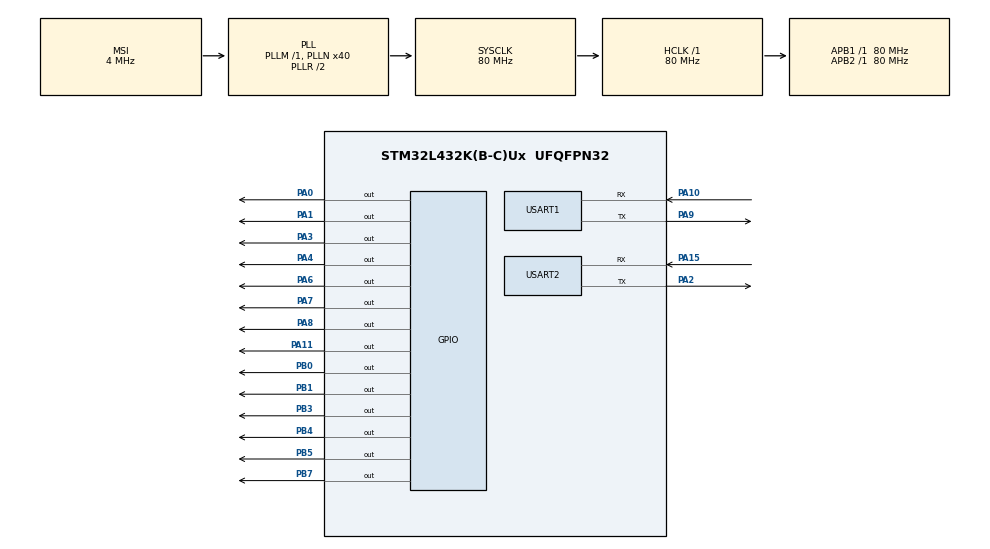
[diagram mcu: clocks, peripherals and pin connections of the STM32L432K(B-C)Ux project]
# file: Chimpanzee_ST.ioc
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CRC.CRCLength=CRC_POLYLENGTH_8B
CRC.DefaultInitValueUse=DEFAULT_INIT_VALUE_DISABLE
CRC.DefaultPolynomialUse=DEFAULT_POLYNOMIAL_DISABLE
CRC.GeneratingPolynomial=X2+X1+X0
CRC.InitValue=0
CRC.InputDataInversionMode=CRC_INPUTDATA_INVERSION_NONE
Dma.Request0=USART2_RX
Dma.Request1=USART2_TX
Dma.Request2=USART1_RX
Dma.Request3=USART1_TX
Dma.USART1_RX.2.Direction=DMA_PERIPH_TO_MEMORY
Dma.USART1_RX.2.Instance=DMA1_Channel5
Dma.USART1_RX.2.MemDataAlignment=DMA_MDATAALIGN_BYTE
Dma.USART1_RX.2.MemInc=DMA_MINC_ENABLE
Dma.USART1_RX.2.Mode=DMA_CIRCULAR
Dma.USART1_RX.2.PeriphDataAlignment=DMA_PDATAALIGN_BYTE
Dma.USART1_RX.2.PeriphInc=DMA_PINC_DISABLE
Dma.USART1_RX.2.Priority=DMA_PRIORITY_LOW
Dma.USART1_TX.3.Direction=DMA_MEMORY_TO_PERIPH
Dma.USART1_TX.3.Instance=DMA1_Channel4
Dma.USART1_TX.3.MemDataAlignment=DMA_MDATAALIGN_BYTE
Dma.USART1_TX.3.MemInc=DMA_MINC_ENABLE
Dma.USART1_TX.3.Mode=DMA_NORMAL
Dma.USART1_TX.3.PeriphDataAlignment=DMA_PDATAALIGN_BYTE
Dma.USART1_TX.3.PeriphInc=DMA_PINC_DISABLE
Dma.USART1_TX.3.Priority=DMA_PRIORITY_LOW
Dma.USART2_RX.0.Direction=DMA_PERIPH_TO_MEMORY
Dma.USART2_RX.0.Instance=DMA1_Channel6
Dma.USART2_RX.0.MemDataAlignment=DMA_MDATAALIGN_BYTE
Dma.USART2_RX.0.MemInc=DMA_MINC_ENABLE
Dma.USART2_RX.0.Mode=DMA_CIRCULAR
Dma.USART2_RX.0.PeriphDataAlignment=DMA_PDATAALIGN_BYTE
Dma.USART2_RX.0.PeriphInc=DMA_PINC_DISABLE
Dma.USART2_RX.0.Priority=DMA_PRIORITY_LOW
Dma.USART2_TX.1.Direction=DMA_MEMORY_TO_PERIPH
Dma.USART2_TX.1.Instance=DMA1_Channel7
Dma.USART2_TX.1.MemDataAlignment=DMA_MDATAALIGN_BYTE
Dma.USART2_TX.1.MemInc=DMA_MINC_ENABLE
Dma.USART2_TX.1.Mode=DMA_NORMAL
Dma.USART2_TX.1.PeriphDataAlignment=DMA_PDATAALIGN_BYTE
Dma.USART2_TX.1.PeriphInc=DMA_PINC_DISABLE
Dma.USART2_TX.1.Priority=DMA_PRIORITY_LOW
Mcu.Family=STM32L4
Mcu.Name=STM32L432K(B-C)Ux
Mcu.Package=UFQFPN32
NVIC.DMA1_Channel4_IRQn=true\:1\:0\:true\:true\:true\:3\:false\:true\:true
NVIC.DMA1_Channel5_IRQn=true\:3\:0\:true\:true\:true\:9\:false\:true\:true
NVIC.DMA1_Channel6_IRQn=true\:3\:0\:true\:true\:true\:10\:false\:true\:true
NVIC.DMA1_Channel7_IRQn=true\:1\:0\:true\:true\:true\:4\:false\:true\:true
NVIC.PriorityGroup=NVIC_PRIORITYGROUP_4
NVIC.TIM1_BRK_TIM15_IRQn=true\:2\:0\:true\:true\:true\:5\:true\:true\:true
NVIC.TIM1_CC_IRQn=true\:2\:0\:true\:true\:true\:8\:true\:true\:true
NVIC.TIM1_UP_TIM16_IRQn=true\:2\:0\:true\:true\:true\:6\:true\:true\:true
NVIC.TIM2_IRQn=true\:2\:0\:true\:true\:true\:7\:true\:true\:true
NVIC.TIM6_DAC_IRQn=true\:3\:0\:true\:true\:true\:11\:true\:true\:true
NVIC.USART1_IRQn=true\:1\:0\:true\:true\:true\:1\:true\:true\:true
NVIC.USART2_IRQn=true\:1\:0\:true\:true\:true\:2\:true\:true\:true
PA0.Signal=GPIO_Output
PA1.Signal=GPIO_Output
PA10.Mode=Asynchronous
PA10.Signal=USART1_RX
PA11.Signal=GPIO_Output
PA15\ (JTDI).Mode=Asynchronous
PA15\ (JTDI).Signal=USART2_RX
PA2.Mode=Asynchronous
PA2.Signal=USART2_TX
PA3.Signal=GPIO_Output
PA4.Signal=GPIO_Output
PA6.Signal=GPIO_Output
PA7.Signal=GPIO_Output
PA8.Signal=GPIO_Output
PA9.Mode=Asynchronous
PA9.Signal=USART1_TX
PB0.Signal=GPIO_Output
PB1.Signal=GPIO_Output
PB3\ (JTDO-TRACESWO).Signal=GPIO_Output
PB4\ (NJTRST).Signal=GPIO_Output
PB5.Signal=GPIO_Output
PB7.Signal=GPIO_Output
ProjectManager.HeapSize=0x200
ProjectManager.StackSize=0x400
ProjectManager.TargetToolchain=STM32CubeIDE
RCC.AHBFreq_Value=80000000
RCC.APB1Freq_Value=80000000
RCC.APB1TimFreq_Value=80000000
RCC.APB2Freq_Value=80000000
RCC.APB2TimFreq_Value=80000000
RCC.CortexFreq_Value=80000000
RCC.HCLKFreq_Value=80000000
RCC.HSE_VALUE=8000000
RCC.HSI48_VALUE=48000000
RCC.HSI_VALUE=16000000
RCC.LSE_VALUE=32768
RCC.MSI_VALUE=4000000
RCC.PLLN=40
RCC.SYSCLKFreq_VALUE=80000000
RCC.SYSCLKSource=RCC_SYSCLKSOURCE_PLLCLK
RCC.VCOOutputFreq_Value=160000000
TIM1.AutoReloadPreload=TIM_AUTORELOAD_PRELOAD_DISABLE
TIM1.Channel-PWM\ Generation1\ No\ Output=TIM_CHANNEL_1
TIM1.Channel-PWM\ Generation2\ No\ Output=TIM_CHANNEL_2
TIM1.Channel-PWM\ Generation3\ No\ Output=TIM_CHANNEL_3
TIM1.Channel-PWM\ Generation4\ No\ Output=TIM_CHANNEL_4
TIM1.OC1Preload_PWM=DISABLE
TIM1.OC2Preload_PWM=DISABLE
TIM1.OC3Preload_PWM=DISABLE
TIM1.OC4Preload_PWM=DISABLE
TIM1.Period=19999
TIM1.Prescaler=79
TIM1.Pulse-PWM\ Generation1\ No\ Output=1500
TIM1.Pulse-PWM\ Generation2\ No\ Output=1500
TIM1.Pulse-PWM\ Generation3\ No\ Output=1500
TIM1.Pulse-PWM\ Generation4\ No\ Output=1500
TIM15.Channel-PWM\ Generation1\ No\ Output=TIM_CHANNEL_1
TIM15.OC1Preload_PWM=DISABLE
TIM15.Period=255
TIM15.Prescaler=300
TIM15.Pulse-PWM\ Generation1\ No\ Output=127
TIM16.Channel=TIM_CHANNEL_1
TIM16.OC1Preload_PWM=DISABLE
TIM16.Period=255
TIM16.Prescaler=1040
TIM16.Pulse=127
TIM2.Channel-PWM\ Generation1\ No\ Output=TIM_CHANNEL_1
TIM2.Channel-PWM\ Generation2\ No\ Output=TIM_CHANNEL_2
TIM2.Channel-PWM\ Generation3\ No\ Output=TIM_CHANNEL_3
TIM2.Channel-PWM\ Generation4\ No\ Output=TIM_CHANNEL_4
TIM2.OC1Preload_PWM=DISABLE
TIM2.OC2Preload_PWM=DISABLE
TIM2.OC3Preload_PWM=DISABLE
TIM2.OC4Preload_PWM=DISABLE
TIM2.Period=19999
TIM2.Prescaler=79
TIM2.Pulse-PWM\ Generation1\ No\ Output=1500
TIM2.Pulse-PWM\ Generation2\ No\ Output=1500
TIM2.Pulse-PWM\ Generation3\ No\ Output=1500
TIM2.Pulse-PWM\ Generation4\ No\ Output=1500
TIM6.Period=99
TIM6.Prescaler=7999
USART1.VirtualMode-Asynchronous=VM_ASYNC
USART2.VirtualMode-Asynchronous=VM_ASYNC
VP_CRC_VS_CRC.Mode=CRC_Activate
VP_TIM15_VS_no_output1.Mode=PWM Generation1 No Output
VP_TIM16_VS_ClockSourceINT.Mode=Enable_Timer
VP_TIM16_VS_no_output1.Mode=PWM Generation1 No Output
VP_TIM1_VS_no_output1.Mode=PWM Generation1 No Output
VP_TIM1_VS_no_output2.Mode=PWM Generation2 No Output
VP_TIM1_VS_no_output3.Mode=PWM Generation3 No Output
VP_TIM1_VS_no_output4.Mode=PWM Generation4 No Output
VP_TIM2_VS_no_output1.Mode=PWM Generation1 No Output
VP_TIM2_VS_no_output2.Mode=PWM Generation2 No Output
VP_TIM2_VS_no_output3.Mode=PWM Generation3 No Output
VP_TIM2_VS_no_output4.Mode=PWM Generation4 No Output
VP_TIM6_VS_ClockSourceINT.Mode=Enable_Timer
board=custom

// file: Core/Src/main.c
/* USER CODE BEGIN Header */
/**
  ******************************************************************************
  * @file           : main.c
  * @brief          : Main program body
  ******************************************************************************
  * @attention
  *
  * Copyright (c) 2024 STMicroelectronics.
  * All rights reserved.
  *
  * This software is licensed under terms that can be found in the LICENSE file
  * in the root directory of this software component.
  * If no LICENSE file comes with this software, it is provided AS-IS.
  *
  ******************************************************************************
  */
/* USER CODE END Header */
#include "main.h"
#include "crc.h"
#include "dma.h"
#include "tim.h"
#include "usart.h"
#include "gpio.h"

/* USER CODE BEGIN Includes */
#include <string.h>
/* USER CODE END Includes */

/* USER CODE BEGIN PD */
// Arm and Wrist Pin Definitions
#define DEBUG_EN 1

#define PIN_DIR_WRIST GPIO_PIN_4 // GPIOB
#define  PIN_EN_WRIST GPIO_PIN_5 // GPIOB
#define  PIN_DIR_HAND GPIO_PIN_7 // GPIOB

// Packets' Codes
#define CHIMP_INIT_SOP 0xFF
#define CHIMP_COMM_SOP 0xAA
#define CHIMP_HB_SOP   0xBB
#define CHIMP_EOP 	   0xEE
#define CHIMP_ESCAPE   0x7E

// Packet sizes, to be kept updated
#define   CHIMP_RX_PCKT_SIZE 27
#define   CHIMP_TX_PCKT_SIZE 50
#define CHIMP_RESP_PCKT_SIZE 8
#define   CHIMP_HB_PCKT_SIZE 7
// Init Packet Indexes
#define        CHIMP_INIT_SOP_IDX 0
#define    CHIMP_INIT_ADDRESS_IDX 1
#define    CHIMP_INIT_VERSION_IDX 2
#define CHIMP_INIT_SUBVERSION_IDX 3
#define  CHIMP_INIT_HB_PERIOD_IDX 4
#define       CHIMP_INIT_CRC8_IDX 5
#define        CHIMP_INIT_EOP_IDX 6

// Response Packet Indexes
#define        CHIMP_RESP_SOP_IDX 0
#define    CHIMP_RESP_ADDRESS_IDX 1
#define    CHIMP_RESP_VERSION_IDX 2
#define CHIMP_RESP_SUBVERSION_IDX 3
#define   CHIMP_RESP_RESPONSE_IDX 4
#define       CHIMP_RESP_CRC8_IDX 5
#define        CHIMP_RESP_EOP_IDX 6

// Heart Beat Packet Indexes
#define     CHIMP_HB_SOP_IDX 0
#define CHIMP_HB_ADDRESS_IDX 1
#define  CHIMP_HB_STATUS_IDX 2
#define CHIMP_HB_PAYLOAD_IDX 3
#define    CHIMP_HB_CRC8_IDX 4
#define     CHIMP_HB_EOP_IDX 5

// Response Packet - Response field codes
#define                 CHIMP_RESP_OK 0x00
#define CHIMP_RESP_OLD_VERSION_MASTER 0x01
#define  CHIMP_RESP_OLD_VERSION_SLAVE 0x02
#define        CHIMP_RESP_CRC_FAILURE 0x03

// HB Packet - Status field codes
#define CHIMP_HB_READY  0b00000000
#define CHIMP_HB_NREADY 0b00000001
/* USER CODE END PD */

/* USER CODE BEGIN PV */
typedef enum {
	CHIMP_OK,
	CHIMP_BUSY
} CHIMP_StatusTypeDef;

typedef struct {
	CHIMP_StatusTypeDef  				         Status;
	uint16_t                              Motor_Arg[11];
	uint8_t									       Tick;
	uint8_t         		   				  HB_Period;
	uint8_t           		   			   	    Version;
	uint8_t         						 SubVersion;
	uint8_t             				      FillIndex;
	uint8_t                                       Esc_f;
	uint8_t 			                    UART_Buffer;
	uint8_t                TxPacket[CHIMP_TX_PCKT_SIZE];
	uint8_t                RxPacket[CHIMP_RX_PCKT_SIZE];
	uint8_t             Resp_Pckt[CHIMP_RESP_PCKT_SIZE];
	uint8_t                 HB_Pckt[CHIMP_HB_PCKT_SIZE];
} CHIMP_TypeDef;

static CHIMP_TypeDef chimp;
/* USER CODE END PV */

void SystemClock_Config(void);
static void MX_NVIC_Init(void);

int main(void)
{

  /* MCU Configuration--------------------------------------------------------*/

  /* Reset of all peripherals, Initializes the Flash interface and the Systick. */
  HAL_Init();

  /* Configure the system clock */
  SystemClock_Config();

  /* Initialize all configured peripherals */
  MX_GPIO_Init();
  MX_DMA_Init();
  MX_CRC_Init();
  MX_TIM6_Init();
  MX_TIM16_Init();
  MX_TIM1_Init();
  MX_TIM2_Init();
  MX_TIM15_Init();
  MX_USART2_UART_Init();
  MX_USART1_UART_Init();

  /* Initialize interrupts */
  MX_NVIC_Init();
  /* USER CODE BEGIN 2 */
  // CHIMP initialization
  chimp. HB_Period = 1;
  chimp.   Version = 1;
  chimp.SubVersion = 0;

  // Fill Response Packet
  chimp.Resp_Pckt       [CHIMP_RESP_SOP_IDX] =   CHIMP_INIT_SOP;
  chimp.Resp_Pckt   [CHIMP_RESP_ADDRESS_IDX] =             0x00;
  chimp.Resp_Pckt   [CHIMP_RESP_VERSION_IDX] =    chimp.Version;
  chimp.Resp_Pckt[CHIMP_RESP_SUBVERSION_IDX] = chimp.SubVersion;

  // Fill HB Packet
  chimp.HB_Pckt    [CHIMP_HB_SOP_IDX] =   CHIMP_HB_SOP;
  chimp.HB_Pckt[CHIMP_HB_ADDRESS_IDX] =           0x00;
  chimp.HB_Pckt [CHIMP_HB_STATUS_IDX] = CHIMP_HB_READY;

  #if (DEBUG_EN == 1)
  	  HAL_UART_Receive_DMA(&huart2, &chimp.UART_Buffer, 1);
  #else
  	  HAL_UART_Receive_DMA(&huart1, &chimp.UART_Buffer, 1);
  #endif

  HAL_TIM_Base_Start_IT(&htim6);

  HAL_TIM_Base_Start_IT(&htim1);
  HAL_TIM_Base_Start_IT(&htim2);
  HAL_TIM_Base_Start_IT(&htim15);
  HAL_TIM_Base_Start_IT(&htim16);

  HAL_TIM_OC_Start_IT(&htim1,TIM_CHANNEL_1);
  HAL_TIM_OC_Start_IT(&htim1,TIM_CHANNEL_2);
  HAL_TIM_OC_Start_IT(&htim1,TIM_CHANNEL_3);
  HAL_TIM_OC_Start_IT(&htim1,TIM_CHANNEL_4);

  HAL_TIM_OC_Start_IT(&htim2,TIM_CHANNEL_1);
  HAL_TIM_OC_Start_IT(&htim2,TIM_CHANNEL_2);
  HAL_TIM_OC_Start_IT(&htim2,TIM_CHANNEL_3);
  HAL_TIM_OC_Start_IT(&htim2,TIM_CHANNEL_4);

  HAL_TIM_OC_Start_IT(&htim15,TIM_CHANNEL_1);

  HAL_TIM_OC_Start_IT(&htim16,TIM_CHANNEL_1);

  HAL_GPIO_WritePin(GPIOB, GPIO_PIN_3, 1);

  HAL_SuspendTick();
  HAL_PWR_EnableSleepOnExit();
  HAL_PWR_EnterSLEEPMode(PWR_MAINREGULATOR_ON, PWR_SLEEPENTRY_WFI);
  /* USER CODE END 2 */

  /* Infinite loop */
  while (1)
  {

    /* USER CODE BEGIN 3 */
  	//HAL_SuspendTick();
	//HAL_PWR_EnterSLEEPMode(PWR_MAINREGULATOR_ON, PWR_SLEEPENTRY_WFI);
	//HAL_ResumeTick();
  }
  /* USER CODE END 3 */
}

void SystemClock_Config(void)
{
  RCC_OscInitTypeDef RCC_OscInitStruct = {0};
  RCC_ClkInitTypeDef RCC_ClkInitStruct = {0};

  /** Configure the main internal regulator output voltage
  */
  if (HAL_PWREx_ControlVoltageScaling(PWR_REGULATOR_VOLTAGE_SCALE1) != HAL_OK)
  {
    Error_Handler();
  }

  /** Initializes the RCC Oscillators according to the specified parameters
  * in the RCC_OscInitTypeDef structure.
  */
  RCC_OscInitStruct.OscillatorType = RCC_OSCILLATORTYPE_MSI;
  RCC_OscInitStruct.MSIState = RCC_MSI_ON;
  RCC_OscInitStruct.MSICalibrationValue = 0;
  RCC_OscInitStruct.MSIClockRange = RCC_MSIRANGE_6;
  RCC_OscInitStruct.PLL.PLLState = RCC_PLL_ON;
  RCC_OscInitStruct.PLL.PLLSource = RCC_PLLSOURCE_MSI;
  RCC_OscInitStruct.PLL.PLLM = 1;
  RCC_OscInitStruct.PLL.PLLN = 40;
  RCC_OscInitStruct.PLL.PLLP = RCC_PLLP_DIV7;
  RCC_OscInitStruct.PLL.PLLQ = RCC_PLLQ_DIV2;
  RCC_OscInitStruct.PLL.PLLR = RCC_PLLR_DIV2;
  if (HAL_RCC_OscConfig(&RCC_OscInitStruct) != HAL_OK)
  {
    Error_Handler();
  }

  /** Initializes the CPU, AHB and APB buses clocks
  */
  RCC_ClkInitStruct.ClockType = RCC_CLOCKTYPE_HCLK|RCC_CLOCKTYPE_SYSCLK
                              |RCC_CLOCKTYPE_PCLK1|RCC_CLOCKTYPE_PCLK2;
  RCC_ClkInitStruct.SYSCLKSource = RCC_SYSCLKSOURCE_PLLCLK;
  RCC_ClkInitStruct.AHBCLKDivider = RCC_SYSCLK_DIV1;
  RCC_ClkInitStruct.APB1CLKDivider = RCC_HCLK_DIV1;
  RCC_ClkInitStruct.APB2CLKDivider = RCC_HCLK_DIV1;

  if (HAL_RCC_ClockConfig(&RCC_ClkInitStruct, FLASH_LATENCY_4) != HAL_OK)
  {
    Error_Handler();
  }
}

/**
  * @brief NVIC Configuration.
  * @retval None
  */
static void MX_NVIC_Init(void)
{
  /* USART1_IRQn interrupt configuration */
  HAL_NVIC_SetPriority(USART1_IRQn, 1, 0);
  HAL_NVIC_EnableIRQ(USART1_IRQn);
  /* USART2_IRQn interrupt configuration */
  HAL_NVIC_SetPriority(USART2_IRQn, 1, 0);
  HAL_NVIC_EnableIRQ(USART2_IRQn);
  /* DMA1_Channel4_IRQn interrupt configuration */
  HAL_NVIC_SetPriority(DMA1_Channel4_IRQn, 1, 0);
  HAL_NVIC_EnableIRQ(DMA1_Channel4_IRQn);
  /* DMA1_Channel7_IRQn interrupt configuration */
  HAL_NVIC_SetPriority(DMA1_Channel7_IRQn, 1, 0);
  HAL_NVIC_EnableIRQ(DMA1_Channel7_IRQn);
  /* TIM1_BRK_TIM15_IRQn interrupt configuration */
  HAL_NVIC_SetPriority(TIM1_BRK_TIM15_IRQn, 2, 0);
  HAL_NVIC_EnableIRQ(TIM1_BRK_TIM15_IRQn);
  /* TIM1_UP_TIM16_IRQn interrupt configuration */
  HAL_NVIC_SetPriority(TIM1_UP_TIM16_IRQn, 2, 0);
  HAL_NVIC_EnableIRQ(TIM1_UP_TIM16_IRQn);
  /* TIM2_IRQn interrupt configuration */
  HAL_NVIC_SetPriority(TIM2_IRQn, 2, 0);
  HAL_NVIC_EnableIRQ(TIM2_IRQn);
  /* TIM1_CC_IRQn interrupt configuration */
  HAL_NVIC_SetPriority(TIM1_CC_IRQn, 2, 0);
  HAL_NVIC_EnableIRQ(TIM1_CC_IRQn);
  /* DMA1_Channel5_IRQn interrupt configuration */
  HAL_NVIC_SetPriority(DMA1_Channel5_IRQn, 3, 0);
  HAL_NVIC_EnableIRQ(DMA1_Channel5_IRQn);
  /* DMA1_Channel6_IRQn interrupt configuration */
  HAL_NVIC_SetPriority(DMA1_Channel6_IRQn, 3, 0);
  HAL_NVIC_EnableIRQ(DMA1_Channel6_IRQn);
  /* TIM6_DAC_IRQn interrupt configuration */
  HAL_NVIC_SetPriority(TIM6_DAC_IRQn, 3, 0);
  HAL_NVIC_EnableIRQ(TIM6_DAC_IRQn);
}

/* USER CODE BEGIN 4 */
void HAL_UART_RxCpltCallback(UART_HandleTypeDef *huart) {
	HAL_GPIO_WritePin(GPIOB, GPIO_PIN_3, 1);

	uint8_t pcktFilled_f = 0;

	if ((chimp.UART_Buffer == CHIMP_EOP && !chimp.Esc_f) || chimp.FillIndex == (CHIMP_RX_PCKT_SIZE - 1)) {
		chimp.RxPacket[chimp.FillIndex] = chimp.UART_Buffer;
		pcktFilled_f = 1;
	}
	else if (chimp.UART_Buffer == CHIMP_ESCAPE && !chimp.Esc_f) {
		chimp.Esc_f = 1;
	}
	else {
		chimp.RxPacket[chimp.FillIndex] = chimp.UART_Buffer;
		chimp.FillIndex++;
		chimp.Esc_f = 0;
	}

	if (pcktFilled_f) {
		HAL_GPIO_WritePin(GPIOB, GPIO_PIN_3, 0);

		// Check if Address field contains current board address
		if (chimp.RxPacket[1] == 0x00 && chimp.FillIndex >= 6) {

			if (chimp.RxPacket[0] == CHIMP_INIT_SOP) {
				// Response field evaluation //

				// Perform CRC-8 check
				if (HAL_CRC_Calculate(&hcrc, (uint32_t *)chimp.RxPacket, CHIMP_INIT_CRC8_IDX) != chimp.RxPacket[CHIMP_INIT_CRC8_IDX])
					chimp.Resp_Pckt[CHIMP_RESP_RESPONSE_IDX] = CHIMP_RESP_CRC_FAILURE;
				// If there is no other failure, perform version check
				else {
					if (chimp.Version == chimp.RxPacket[CHIMP_INIT_VERSION_IDX]) {
						if (chimp.SubVersion == chimp.RxPacket[CHIMP_INIT_SUBVERSION_IDX]) {
							chimp.Resp_Pckt[CHIMP_RESP_RESPONSE_IDX] = CHIMP_RESP_OK;
						}
						else if (chimp.SubVersion < chimp.RxPacket[CHIMP_INIT_SUBVERSION_IDX]) {
							chimp.Resp_Pckt[CHIMP_RESP_RESPONSE_IDX] = CHIMP_RESP_OLD_VERSION_SLAVE;
						}
						else chimp.Resp_Pckt[CHIMP_RESP_RESPONSE_IDX] = CHIMP_RESP_OLD_VERSION_MASTER;
					}
					else if (chimp.Version < chimp.RxPacket[CHIMP_INIT_VERSION_IDX]) {
						chimp.Resp_Pckt[CHIMP_RESP_RESPONSE_IDX] = CHIMP_RESP_OLD_VERSION_SLAVE;
					}
					else chimp.Resp_Pckt[CHIMP_RESP_RESPONSE_IDX] = CHIMP_RESP_OLD_VERSION_MASTER;
				}

				// ------------------------- //

				// Response Packet CRC8 calculation
				uint8_t tmp = HAL_CRC_Calculate(&hcrc, (uint32_t *)chimp.Resp_Pckt, CHIMP_RESP_CRC8_IDX);
				uint8_t offset = 0;
				if (tmp == CHIMP_ESCAPE || tmp == CHIMP_INIT_SOP || tmp == CHIMP_COMM_SOP || tmp == CHIMP_HB_SOP || tmp == CHIMP_EOP) {
					chimp.Resp_Pckt[CHIMP_RESP_CRC8_IDX] = CHIMP_ESCAPE;
					offset = 1;
				}
				chimp.Resp_Pckt[CHIMP_RESP_CRC8_IDX + offset] = tmp;
				chimp.Resp_Pckt[CHIMP_RESP_EOP_IDX  + offset] = CHIMP_EOP;

				// Send Response Packet
				#if (DEBUG_EN == 1)
					while (huart2.gState != HAL_UART_STATE_READY);
					HAL_UART_Transmit_DMA(&huart2, chimp.Resp_Pckt, (CHIMP_RESP_PCKT_SIZE - 1 + offset));
				#else
					while (huart1.gState != HAL_UART_STATE_READY);
					HAL_UART_Transmit_DMA(&huart1, chimp.Resp_Pckt, (CHIMP_RESP_PCKT_SIZE - 1 + offset));
				#endif

				// No Errors, update HB period
				if (chimp.Resp_Pckt[CHIMP_RESP_RESPONSE_IDX] == CHIMP_RESP_OK) {
					// Setting HB period and starting generation of HB packets
					chimp.HB_Period = chimp.RxPacket[CHIMP_INIT_HB_PERIOD_IDX] + 1;
				}
			}
			else {
				// Perform CRC-8 check
				chimp.RxPacket[0] = CHIMP_COMM_SOP;
				if (HAL_CRC_Calculate(&hcrc, (uint32_t *)chimp.RxPacket, (chimp.FillIndex - 1)) == chimp.RxPacket[chimp.FillIndex - 1]) {
					memcpy(chimp.Motor_Arg, (chimp.RxPacket + 3), (chimp.FillIndex - 4));

					if (!chimp.RxPacket[2]) {
						htim1.Instance->CCR1 = chimp.Motor_Arg[0];
						htim1.Instance->CCR2 = chimp.Motor_Arg[1];
						htim1.Instance->CCR3 = chimp.Motor_Arg[2];
						htim1.Instance->CCR4 = chimp.Motor_Arg[3];

						htim2.Instance->CCR1 = chimp.Motor_Arg[4];
						htim2.Instance->CCR2 = chimp.Motor_Arg[5];
						htim2.Instance->CCR3 = chimp.Motor_Arg[6];
						htim2.Instance->CCR4 = chimp.Motor_Arg[7];
					} else {
						switch((uint16_t) chimp.RxPacket[3]) {
							case 0:
								HAL_GPIO_WritePin(GPIOB, PIN_DIR_WRIST, 1);
								HAL_GPIO_WritePin(GPIOB,  PIN_EN_WRIST, 0);
								HAL_TIM_OC_Start_IT(&htim15, TIM_CHANNEL_1);
								break;
							case 1:
								HAL_GPIO_WritePin(GPIOB, PIN_DIR_WRIST, 0);
								HAL_GPIO_WritePin(GPIOB,  PIN_EN_WRIST, 0);
								HAL_TIM_OC_Start_IT(&htim15, TIM_CHANNEL_1);
								break;
							case 2:
								HAL_TIM_OC_Stop_IT(&htim15, TIM_CHANNEL_1);
								HAL_GPIO_WritePin(GPIOB, PIN_EN_WRIST, 0);
								break;
							case 3: //open claw
								HAL_GPIO_WritePin(GPIOB, PIN_DIR_HAND, 1);
								HAL_TIM_OC_Start_IT(&htim16, TIM_CHANNEL_1);
								break;
							case 4: //close claw
								HAL_GPIO_WritePin(GPIOB, PIN_DIR_HAND, 0);
								HAL_TIM_OC_Start_IT(&htim16, TIM_CHANNEL_1);
								break;
							case 5: //stop hand
								HAL_TIM_OC_Stop_IT(&htim16, TIM_CHANNEL_1);
								break;
							case 6:
								HAL_GPIO_WritePin(GPIOB, PIN_EN_WRIST, 0); // active low
								HAL_TIM_OC_Stop_IT(&htim15, TIM_CHANNEL_1);
								break;
							case 7:
								HAL_GPIO_WritePin(GPIOB, PIN_EN_WRIST, 1);
								HAL_TIM_OC_Stop_IT(&htim15, TIM_CHANNEL_1);
								break;
							default:
								break;
						}
					}
				}
			}
		}

		// Resetting Communication Packet
		memset(chimp.RxPacket, 0, chimp.FillIndex + 1);

		chimp.Esc_f = 0;
		chimp.FillIndex = 0;
	}
}

void HAL_TIM_PWM_PulseFinishedCallback(TIM_HandleTypeDef* htim){
	if(htim->Instance == TIM1 ) {
		if(htim->Channel == HAL_TIM_ACTIVE_CHANNEL_1) {
			HAL_GPIO_WritePin(GPIOB, GPIO_PIN_1, 0);  // FDX: PB1  | D6
		}
		if(htim->Channel == HAL_TIM_ACTIVE_CHANNEL_2) {
			HAL_GPIO_WritePin(GPIOA, GPIO_PIN_8, 0);  // FSX: PA8  | D9
		}
		if(htim->Channel == HAL_TIM_ACTIVE_CHANNEL_3) {
			HAL_GPIO_WritePin(GPIOA, GPIO_PIN_3, 0);  // RDX: PA3  | A2
		}
		if(htim->Channel == HAL_TIM_ACTIVE_CHANNEL_4) {
			HAL_GPIO_WritePin(GPIOA, GPIO_PIN_11, 0); // RSX: PA11 | D10
		}
	}
	else if(htim->Instance == TIM2) {
		if(htim->Channel == HAL_TIM_ACTIVE_CHANNEL_1) {
			HAL_GPIO_WritePin(GPIOA, GPIO_PIN_4, 0); // UPFDX: PA4 | A3
		}
		if(htim->Channel == HAL_TIM_ACTIVE_CHANNEL_2) {
			HAL_GPIO_WritePin(GPIOA, GPIO_PIN_6, 0); // UPFSX: PA6 | A5
		}
		if(htim->Channel == HAL_TIM_ACTIVE_CHANNEL_3) {
			HAL_GPIO_WritePin(GPIOA, GPIO_PIN_0, 0); // UPRDX: PA0 | A0
		}
		if(htim->Channel == HAL_TIM_ACTIVE_CHANNEL_4) {
			HAL_GPIO_WritePin(GPIOB, GPIO_PIN_0, 0); // UPRSX: PB0 | D3
		}
	}
	else if(htim->Instance == TIM15) {
		if(htim->Channel == HAL_TIM_ACTIVE_CHANNEL_1) {
			HAL_GPIO_WritePin(GPIOA, GPIO_PIN_1, 0);
		}
	}
	else if(htim->Instance == TIM16) {
		if(htim->Channel == HAL_TIM_ACTIVE_CHANNEL_1) {
			HAL_GPIO_WritePin(GPIOA, GPIO_PIN_7, 0);
		}
	}
}

void HAL_TIM_PeriodElapsedCallback(TIM_HandleTypeDef* htim){
	if (htim->Instance == TIM6) {
		chimp.Tick++;

		if (chimp.Tick == chimp.HB_Period) {
			chimp.HB_Pckt[CHIMP_HB_PAYLOAD_IDX] = 0x00;

			// HB Packet CRC8 calculation
			uint8_t tmp = HAL_CRC_Calculate(&hcrc, (uint32_t *)chimp.HB_Pckt, CHIMP_HB_CRC8_IDX);
			uint8_t offset = 0;
			if (tmp == CHIMP_ESCAPE || tmp == CHIMP_INIT_SOP || tmp == CHIMP_COMM_SOP || tmp == CHIMP_HB_SOP || tmp == CHIMP_EOP) {
				chimp.HB_Pckt[CHIMP_HB_CRC8_IDX] = CHIMP_ESCAPE;
				offset = 1;
			}
			chimp.HB_Pckt[CHIMP_HB_CRC8_IDX + offset] = tmp;
			chimp.HB_Pckt[CHIMP_HB_EOP_IDX  + offset] = CHIMP_EOP;

			// Send Init Response Packet
			#if (DEBUG_EN == 1)
				while (huart2.gState != HAL_UART_STATE_READY);
				HAL_UART_Transmit_DMA(&huart2, chimp.HB_Pckt, (CHIMP_HB_PCKT_SIZE - 1 + offset));
			#else
				while (huart1.gState != HAL_UART_STATE_READY);
				HAL_UART_Transmit_DMA(&huart1, chimp.HB_Pckt, (CHIMP_HB_PCKT_SIZE - 1 + offset));
			#endif

			chimp.Tick = 0;
		}
	}
	else if (htim->Instance == TIM1) {            // Communication Packet Args order
		HAL_GPIO_WritePin(GPIOA,  GPIO_PIN_8, 1); // 1
		HAL_GPIO_WritePin(GPIOB,  GPIO_PIN_1, 1); // 2
		HAL_GPIO_WritePin(GPIOA, GPIO_PIN_11, 1); // 3
		HAL_GPIO_WritePin(GPIOA,  GPIO_PIN_3, 1); // 4
    }
	else if (htim->Instance == TIM2) {
		HAL_GPIO_WritePin(GPIOA, GPIO_PIN_6, 1); // 5
		HAL_GPIO_WritePin(GPIOA, GPIO_PIN_4, 1); // 6
		HAL_GPIO_WritePin(GPIOB, GPIO_PIN_0, 1); // 7
		HAL_GPIO_WritePin(GPIOA, GPIO_PIN_0, 1); // 8
	}
	else if (htim->Instance == TIM15) {
		HAL_GPIO_WritePin(GPIOA, GPIO_PIN_1, 1);
	}
	else if (htim->Instance == TIM16) {
		HAL_GPIO_WritePin(GPIOA, GPIO_PIN_7, 1);
	}
}
/* USER CODE END 4 */

void Error_Handler(void)
{
  __disable_irq();
  while (1)
  {
  }
}
